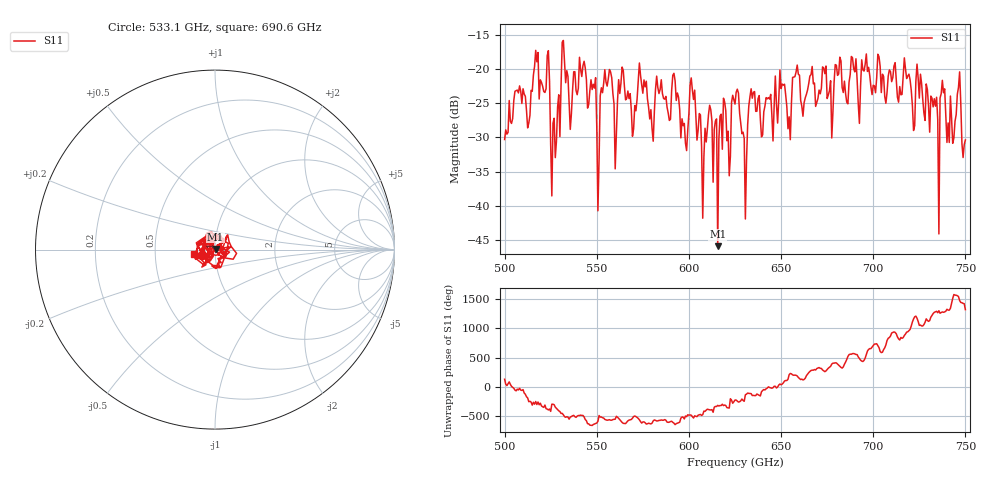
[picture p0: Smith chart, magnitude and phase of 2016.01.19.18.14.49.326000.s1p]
!Created with skrf (http://scikit-rf.org).
# GHz S RI R 50.0
!freq ReS11 ImS11
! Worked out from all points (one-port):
!   401 points, 500 GHz to 750 GHz, reference 50 ohm
!   lowest |S11| = -45.9 dB at 615.6 GHz (marker M1), VSWR 1.01, Z = 50.4 + j0.361 ohm
!   |S11| at or under -10 dB: start of sweep to end of sweep
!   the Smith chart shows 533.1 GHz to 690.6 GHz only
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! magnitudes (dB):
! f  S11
! 500 GHz  -30.3
! 506.9 GHz  -23.1
! 513.1 GHz  -27.9
! 516.9 GHz  -17.3
! 523.1 GHz  -18.0
! 526.9 GHz  -27.2
! 531.2 GHz  -16.1
! 548.1 GHz  -22.2
! 551.2 GHz  -33.2
! 553.1 GHz  -23.5
! 560 GHz  -34.6
! 562.5 GHz  -23.6
! 570 GHz  -28.7
! 574.4 GHz  -22.3
! 580 GHz  -28.7
! 593.8 GHz  -23.5
! 615.6 GHz  -45.9
! 625 GHz  -25.1
! 630 GHz  -30.2
! 634.4 GHz  -24.3
! 656.2 GHz  -21.2
! 687.5 GHz  -20.8
! 718.8 GHz  -21.0
! 734.4 GHz  -24.1
! 737.5 GHz  -21.7
! 742.5 GHz  -27.2
! 746.2 GHz  -22.7
! 750 GHz  -30.4
